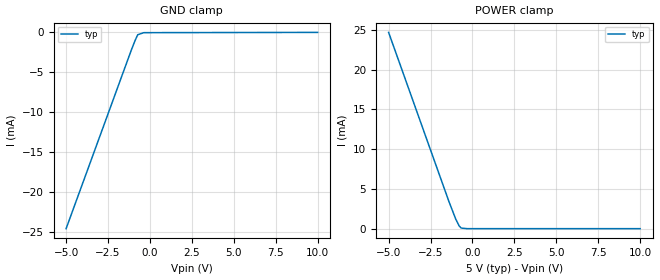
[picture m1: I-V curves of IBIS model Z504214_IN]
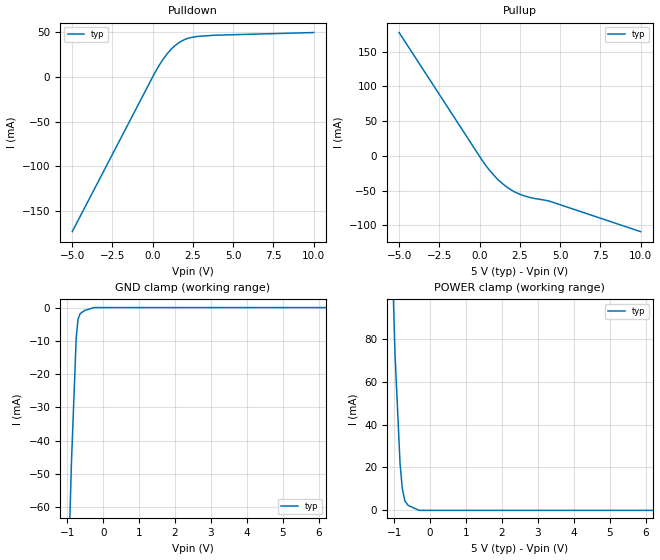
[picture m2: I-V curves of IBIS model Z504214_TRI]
| YOU ARE ONLY AUTHORIZED TO USE THIS SOFTWARE
| ACCORDING TO LICENSOR'S LICENSE RESTRICTIONS.
[IBIS Ver] 3.1
[File Name] mc74hc366dw.ibs
[File Rev] 2.0
[Source] Measured and created by ICX Technology
[Date] Friday 7/14/00 9:08:09 AM
[Copyright]
| (C) COPYRIGHT 1993-2000
| MENTOR GRAPHICS CORPORATION
| ICX STANDARD LIBRARY, ICX PROJECT MODELING,
| ICX CUSTOM MODELING, ICX VENDOR MODEL
| ALL RIGHTS RESERVED.
| THE FOLLOWING ARE TRADEMARKS OR SERVICE MARKS OF
| MENTOR GRAPHICS CORPORATION:ICX (R), ICX STANDARD
| LIBRARY(R), ICX PROJECT MODELING(R), ICX CUSTOM
| MODELING(R), qualityIBIS(TM), MODELVIEWER(TM),
| AND MODELEDITOR(TM)
| ALL COPIES OF SOFTWARE, INCLUDING BUT NOT LIMITED TO
| ANY MODIFICATIONS, ENHANCEMENTS OR DERIVATIVE WORKS,
| MUST CONTAIN ALL MENTOR GRAPHICS CORPORATION'S
| NOTICES AND LEGENDS, INCLUDING THOSE EMBEDDED IN
| SOFTWARE AND THOSE AFFIXED TO SOFTWARE MEDIUM
| AND CONTAINER, AS RECEIVED FROM MENTOR GRAPHICS
| CORPORATION.
|  ZAP Model Builder 2.7
[Component] MC74HC366DW
[Manufacturer] OnSemiconductor
[Package]
| variable   typ   min   max
R_pkg  .176ohms NA NA
L_pkg  4.193nH NA NA
C_pkg  .603pF NA NA
[Pin] signal_name  model_name  R_pin  L_pin C_pin
1 _G1 Z504214_IN .182 4.888n .648p
2 A0 Z504214_IN .178 4.418n .618p
3 _Y0 Z504214_TRI .174 3.958n .588p
4 A1 Z504214_IN .17 3.508n .558p
5 _Y1 Z504214_TRI .17 3.508n .558p
6 A2 Z504214_IN .174 3.958n .588p
7 _Y2 Z504214_TRI .178 4.418n .618p
8 GND GND .182 4.888n .648p
9 _Y3 Z504214_TRI .182 4.888n .648p
10 A3 Z504214_IN .178 4.418n .618p
11 _Y4 Z504214_TRI .174 3.958n .588p
12 A4 Z504214_IN .17 3.508n .558p
13 _Y5 Z504214_TRI .17 3.508n .558p
14 A5 Z504214_IN .174 3.958n .588p
15 _G2 Z504214_IN .178 4.418n .618p
16 VCC POWER .182 4.888n .648p
| Models and submodels in the file (2): Z504214_IN (Input), Z504214_TRI (3-state)
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| (C) COPYRIGHT 1993-2000
| MENTOR GRAPHICS CORPORATION
| ICX STANDARD LIBRARY, ICX PROJECT MODELING,
| ICX CUSTOM MODELING, ICX VENDOR MODEL
| ALL RIGHTS RESERVED.
| THE FOLLOWING ARE TRADEMARKS OR SERVICE MARKS OF
| MENTOR GRAPHICS CORPORATION:ICX (R), ICX STANDARD
| LIBRARY(R), ICX PROJECT MODELING(R), ICX CUSTOM
| MODELING(R), qualityIBIS(TM), MODELVIEWER(TM),
| AND MODELEDITOR(TM)
| ALL COPIES OF SOFTWARE, INCLUDING BUT NOT LIMITED TO
| ANY MODIFICATIONS, ENHANCEMENTS OR DERIVATIVE WORKS,
| MUST CONTAIN ALL MENTOR GRAPHICS CORPORATION'S
| NOTICES AND LEGENDS, INCLUDING THOSE EMBEDDED IN
| SOFTWARE AND THOSE AFFIXED TO SOFTWARE MEDIUM
| AND CONTAINER, AS RECEIVED FROM MENTOR GRAPHICS
| CORPORATION.
| Model Application Version 1.89 2/18/99.
[Model] Z504214_IN
Model_type Input
Vinl = 1.000V
Vinh = 3.500V
C_comp 4.000pF NA NA
| variable typ   min   max
[Voltage Range] 5.000V NA NA
[GND Clamp Reference] 0.000V NA NA
[POWER Clamp Reference] 5.000V NA NA
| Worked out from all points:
|   GND clamp passes 1 mA (typ) near -0.88 V on its own axis
|   POWER clamp passes 1 mA (typ) near -0.95 V on its own axis
[GND Clamp]
-5V       -24.62mA   NA         NA
-1.127V   -2.301mA   NA         NA
-878.4mV  -967.7uA   NA         NA
-728.3mV  -282.3uA   NA         NA
-364.1mV  -20.65uA   NA         NA
10V       11.98uA    NA         NA
[POWER Clamp]
-5V       24.68mA    NA         NA
-1.397V   3.382mA    NA         NA
-1.001V   1.23mA     NA         NA
-791mV    339.8uA    NA         NA
-671mV    77.1uA     NA         NA
-335.5mV  0A         NA         NA
10V       0A         NA         NA
| (C) COPYRIGHT 1993-2000
| MENTOR GRAPHICS CORPORATION
| ICX STANDARD LIBRARY, ICX PROJECT MODELING,
| ICX CUSTOM MODELING, ICX VENDOR MODEL
| ALL RIGHTS RESERVED.
| THE FOLLOWING ARE TRADEMARKS OR SERVICE MARKS OF
| MENTOR GRAPHICS CORPORATION:ICX (R), ICX STANDARD
| LIBRARY(R), ICX PROJECT MODELING(R), ICX CUSTOM
| MODELING(R), qualityIBIS(TM), MODELVIEWER(TM),
| AND MODELEDITOR(TM)
| ALL COPIES OF SOFTWARE, INCLUDING BUT NOT LIMITED TO
| ANY MODIFICATIONS, ENHANCEMENTS OR DERIVATIVE WORKS,
| MUST CONTAIN ALL MENTOR GRAPHICS CORPORATION'S
| NOTICES AND LEGENDS, INCLUDING THOSE EMBEDDED IN
| SOFTWARE AND THOSE AFFIXED TO SOFTWARE MEDIUM
| AND CONTAINER, AS RECEIVED FROM MENTOR GRAPHICS
| CORPORATION.
| Model Application Version 1.89 2/18/99.
[Model] Z504214_TRI
Model_type 3-state
Vref=0.000V
Rref=500.0Mohms
Cref=50.00pF
Vmeas=2.500V
C_comp 8.000pF NA NA
| variable typ   min   max
[Voltage Range] 5.000V NA NA
[POWER Clamp Reference] 5.000V NA NA
[Pullup Reference] 5.000V NA NA
[Pulldown Reference] 0.000V NA NA
[GND Clamp Reference] 0.000V NA NA
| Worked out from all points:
|   slope of the pulldown table from 0 to 0.75 V, typ, clamps not added: 33.9 ohm
|   slope of the pullup table from 0 to 0.75 V, typ, clamps not added: 31.8 ohm
|   GND clamp passes 1 mA (typ) near -0.53 V on its own axis
[GND Clamp]
-5V       -1.889A    NA         NA
-1.025V   -99.53mA   NA         NA
-886.1mV  -46.93mA   NA         NA
-752mV    -8.908mA   NA         NA
-702.2mV  -3.521mA   NA         NA
-641.5mV  -1.821mA   NA         NA
-512.6mV  -861.5uA   NA         NA
-256.3mV  0A         NA         NA
10V       0A         NA         NA
[Pulldown]
-5V       -172.9mA   NA         NA
83.08mV   2.973mA    NA         NA
625.5mV   19.2mA     NA         NA
915mV     26.2mA     NA         NA
1.368V    34.73mA    NA         NA
1.661V    38.67mA    NA         NA
2.134V    42.78mA    NA         NA
3.091V    45.71mA    NA         NA
10V       49.55mA    NA         NA
[Pullup]
-5V       177.7mA    NA         NA
156mV     -6.435mA   NA         NA
656mV     -22.01mA   NA         NA
1.064V    -32.52mA   NA         NA
1.554V    -42.66mA   NA         NA
2.144V    -51.62mA   NA         NA
2.714V    -57.31mA   NA         NA
4.341V    -65.38mA   NA         NA
10V       -109.3mA   NA         NA
[POWER Clamp]
-5V       2.777A     NA         NA
-1.182V   189.3mA    NA         NA
-977mV    72.68mA    NA         NA
-837mV    21.64mA    NA         NA
-774mV    10.13mA    NA         NA
-702mV    4.3mA      NA         NA
-610mV    2.285mA    NA         NA
-305mV    0A         NA         NA
10V       0A         NA         NA
[Ramp]
| variable typ min max
dV/dt_r 2.851/2.486n NA NA
dV/dt_f 2.851/1.563n NA NA
R_load = 500.0Ohms
